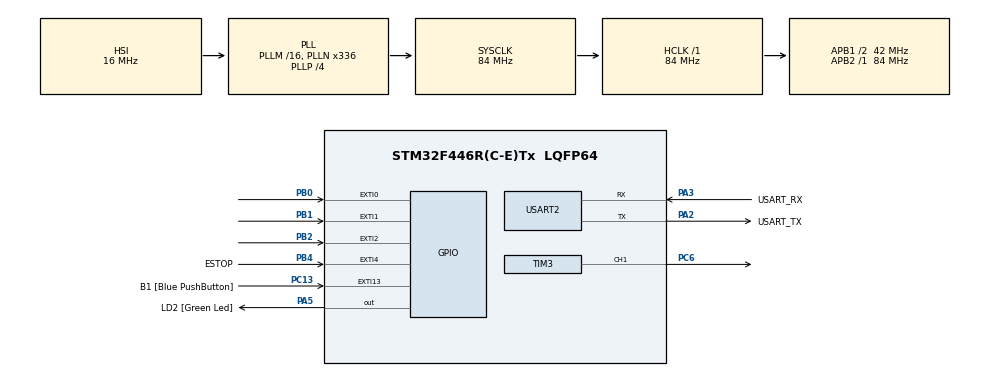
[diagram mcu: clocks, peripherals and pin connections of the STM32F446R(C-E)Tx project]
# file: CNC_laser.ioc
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IWDG.Prescaler=IWDG_PRESCALER_64
Mcu.Family=STM32F4
Mcu.Name=STM32F446R(C-E)Tx
Mcu.Package=LQFP64
NVIC.EXTI0_IRQn=true\:0\:0\:false\:false\:true\:true\:true\:true
NVIC.EXTI1_IRQn=true\:0\:0\:false\:false\:true\:true\:true\:true
NVIC.EXTI2_IRQn=true\:0\:0\:false\:false\:true\:true\:true\:true
NVIC.EXTI4_IRQn=true\:0\:0\:false\:false\:true\:true\:true\:true
NVIC.PriorityGroup=NVIC_PRIORITYGROUP_0
NVIC.TIM2_IRQn=true\:0\:0\:false\:false\:true\:true\:true\:true
NVIC.TIM4_IRQn=true\:0\:0\:false\:false\:true\:true\:true\:true
NVIC.USART2_IRQn=true\:0\:0\:false\:false\:true\:true\:true\:true
PA13.GPIO_Label=TMS
PA13.Mode=Serial_Wire
PA13.Signal=SYS_JTMS-SWDIO
PA14.GPIO_Label=TCK
PA14.Mode=Serial_Wire
PA14.Signal=SYS_JTCK-SWCLK
PA2.GPIO_Label=USART_TX
PA2.Mode=Asynchronous
PA2.Signal=USART2_TX
PA3.GPIO_Label=USART_RX
PA3.Mode=Asynchronous
PA3.Signal=USART2_RX
PA5.GPIO_Label=LD2 [Green Led]
PA5.Signal=GPIO_Output
PB0.GPIO_ModeDefaultEXTI=GPIO_MODE_IT_FALLING
PB0.GPIO_PuPd=GPIO_PULLDOWN
PB0.Signal=GPXTI0
PB1.GPIO_ModeDefaultEXTI=GPIO_MODE_IT_FALLING
PB1.GPIO_PuPd=GPIO_PULLDOWN
PB1.Signal=GPXTI1
PB2.GPIO_ModeDefaultEXTI=GPIO_MODE_IT_FALLING
PB2.GPIO_PuPd=GPIO_PULLDOWN
PB2.Signal=GPXTI2
PB3.GPIO_Label=SWO
PB3.Signal=SYS_JTDO-SWO
PB4.GPIO_Label=ESTOP
PB4.GPIO_PuPd=GPIO_PULLUP
PB4.Signal=GPXTI4
PC13.GPIO_Label=B1 [Blue PushButton]
PC13.GPIO_ModeDefaultEXTI=GPIO_MODE_IT_FALLING
PC13.Signal=GPXTI13
PC14-OSC32_IN.Mode=LSE-External-Oscillator
PC14-OSC32_IN.Signal=RCC_OSC32_IN
PC15-OSC32_OUT.Mode=LSE-External-Oscillator
PC15-OSC32_OUT.Signal=RCC_OSC32_OUT
PC6.Signal=S_TIM3_CH1
PH0-OSC_IN.Mode=HSE-External-Oscillator
PH0-OSC_IN.Signal=RCC_OSC_IN
PH1-OSC_OUT.Mode=HSE-External-Oscillator
PH1-OSC_OUT.Signal=RCC_OSC_OUT
ProjectManager.HeapSize=0x200
ProjectManager.StackSize=0x400
ProjectManager.TargetToolchain=STM32CubeIDE
RCC.48MHZClocksFreq_Value=84000000
RCC.AHBFreq_Value=84000000
RCC.APB1CLKDivider=RCC_HCLK_DIV2
RCC.APB1Freq_Value=42000000
RCC.APB1TimFreq_Value=84000000
RCC.APB2Freq_Value=84000000
RCC.APB2TimFreq_Value=84000000
RCC.CortexFreq_Value=84000000
RCC.FLatency-AdvancedSettings=FLASH_LATENCY_2
RCC.HCLKFreq_Value=84000000
RCC.HSE_VALUE=8000000
RCC.HSI_VALUE=16000000
RCC.PLLN=336
RCC.PLLP=RCC_PLLP_DIV4
RCC.SYSCLKFreq_VALUE=84000000
RCC.SYSCLKSource=RCC_SYSCLKSOURCE_PLLCLK
RCC.USBFreq_Value=168000000
RCC.VCOOutputFreq_Value=336000000
SH.S_TIM3_CH1.0=TIM3_CH1,PWM Generation1 CH1
TIM2.Prescaler=83
TIM3.Channel-PWM\ Generation1\ CH1=TIM_CHANNEL_1
TIM3.Period=999
TIM3.Prescaler=83
TIM4.Prescaler=83
USART2.VirtualMode=VM_ASYNC
VP_IWDG_VS_IWDG.Mode=IWDG_Activate
VP_TIM2_VS_ClockSourceINT.Mode=Internal
VP_TIM3_VS_ClockSourceINT.Mode=Internal
VP_TIM4_VS_ClockSourceINT.Mode=Internal
board=NUCLEO-F446RE

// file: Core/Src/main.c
/* USER CODE BEGIN Header */
/**
  ******************************************************************************
  * @file           : main.c
  * @brief          : Main program body
  ******************************************************************************
  * @attention
  *
  * Copyright (c) 2026 STMicroelectronics.
  * All rights reserved.
  *
  * This software is licensed under terms that can be found in the LICENSE file
  * in the root directory of this software component.
  * If no LICENSE file comes with this software, it is provided AS-IS.
  *
  ******************************************************************************
  */
/* USER CODE END Header */
#include "main.h"

/* USER CODE BEGIN Includes */
/* todos mis modulos propios. cada uno maneja una parte de la maquina
 * por separado (motores x/y, eje z, laser, enable de motores, homing,
 * parser de gcode), asi el main.c queda mas que nada como el que
 * conecta todo y maneja la comunicacion */
#include "corexy_config.h"
#include "homing.h"
#include "motor_enable.h"
#include "watchdog.h"
#include "z_axis.h"
#include "laser.h"
#include "gcode_parser.h"
#include "stepper.h"
#include <stdio.h>
#include <math.h>
#include <string.h>
/* USER CODE END Includes */

IWDG_HandleTypeDef hiwdg;

TIM_HandleTypeDef htim2;
TIM_HandleTypeDef htim3;
TIM_HandleTypeDef htim4;

UART_HandleTypeDef huart2;

/* USER CODE BEGIN PV */

/* ===== mensajes hacia laser grbl =====
 * laser grbl solo muestra lineas en formato grbl: "ALARM:n", "error:n" y
 * "[MSG:texto]". cualquier otro texto lo ignora (se ve en blanco).
 * regla: una linea de gcode recibe UNA sola respuesta, "ok" o "error:n".
 * por eso los avisos que no cortan el flujo van como [MSG:...] y despues
 * sale el "ok" normal, asi no se desincroniza el conteo de laser grbl.
 * todos los textos estan juntos aca para cambiarlos facil. */
#define MSG_WELCOME          "\r\nGrbl 1.1h ['$' for help]\r\n"
#define MSG_OK               "ok\r\n"
#define MSG_ALARM_LIMIT_FMT  "ALARM:1\r\n[MSG:Final de carrera %c]\r\n[MSG:Motores libres. $X y M17]\r\n"
#define MSG_WARN_FEED_FMT    "[MSG:F%d supera max. Uso F%d]\r\n"
#define MSG_ALARM_ESTOP      "ALARM:3\r\n[MSG:Parada de emergencia]\r\n[MSG:Motores libres. Rearme, $X y $H]\r\n"
#define MSG_ERR_ESTOP_HELD   "error:9\r\n[MSG:Emergencia apretada. Rearme]\r\n"
#define MSG_ALARM_WATCHDOG   "ALARM:3\r\n[MSG:Reinicio por watchdog]\r\n[MSG:Posicion perdida. $X y $H]\r\n"
#define MSG_ALARM_HOMING     "ALARM:9\r\n[MSG:Homing fallo]\r\n"
#define MSG_ERR_UNKNOWN      "error:20\r\n[MSG:Comando no reconocido]\r\n"
#define MSG_ERR_UNKNOWN_SYS  "error:3\r\n[MSG:Comando $ no reconocido]\r\n"
#define MSG_ERR_LOCKED       "error:9\r\n[MSG:En alarma. Mande $X]\r\n"
#define MSG_WARN_MOTORS_OFF  "[MSG:Motores off. Mande M17]\r\n"
#define MSG_WARN_OUT_XY      "[MSG:Fuera de area XY]\r\n"
#define MSG_WARN_OUT_Z       "[MSG:Fuera de area Z]\r\n"

/* bandera de alarma: se activa cuando un final de carrera se dispara
 * de improviso en medio de un movimiento normal (no durante el homing
 * a proposito). mientras esta activa, el firmware rechaza cualquier
 * comando nuevo hasta que se mande $X a mano. asi me aseguro de que si
 * la maquina choco contra algo, no siga como si nada mientras laser
 * grbl le sigue mandando lineas del trabajo */
static volatile bool alarm_active = false;

/* offset de trabajo (G92). posicion de trabajo = posicion de maquina -
 * offset. la posicion de maquina (la del homing, 0..240 / 0..200) nunca
 * se toca, asi siempre se conserva la referencia fisica y los limites
 * del area se controlan contra la maquina real */
static float g_off_x = 0.0f;
static float g_off_y = 0.0f;
/* esta otra bandera es para que el mensaje de alarma se mande una sola
 * vez (desde el main, nunca desde la interrupcion) aunque el switch
 * rebote mecanicamente y dispare la interrupcion varias veces por una
 * sola pulsada real */
static volatile bool alarm_message_pending = false;

/* ---- parada de emergencia (pulsador) ----
 * el pulsador va a PB4 (EXTI4). se cablea NORMALMENTE CERRADO entre PB4 y
 * GND, con el pull-up interno: en reposo el contacto lo mantiene en BAJO,
 * al apretar (o si se corta un cable) el contacto se abre y el pull-up lo
 * sube a ALTO. asi una falla del cableado tambien dispara la emergencia
 * (a prueba de fallas). si prefieren un NA a GND, cambiar
 * ESTOP_PRESSED_LEVEL a GPIO_PIN_RESET y el flanco a FALLING en el .ioc */
#ifndef ESTOP_Pin
#define ESTOP_Pin        GPIO_PIN_4
#define ESTOP_GPIO_Port  GPIOB
#endif
#define ESTOP_PRESSED_LEVEL  GPIO_PIN_SET
#define ESTOP_DEBOUNCE_US    1000U

/* la isr la carga y el main la lee para mandar el mensaje una sola vez */
static volatile bool estop_message_pending = false;
/* true desde que se aprieta hasta que se manda $X con el pulsador liberado */
static volatile bool estop_latched = false;

static inline bool estop_pressed(void)
{
    return HAL_GPIO_ReadPin(ESTOP_GPIO_Port, ESTOP_Pin) == ESTOP_PRESSED_LEVEL;
}
/* cual final de carrera disparo la alarma: 'X', 'Y' o 'Z' (lo carga la isr, lo imprime el main) */
static volatile char alarm_limit_axis = '?';

/* esto es el "look ahead" simplificado: en vez de ejecutar cada linea
 * de gcode apenas llega, guardo el movimiento pendiente y espero a ver
 * la linea siguiente antes de decidir si freno al final o no. si el
 * siguiente movimiento sigue exactamente la misma direccion (mismo
 * signo de avance en x e y), no hace falta frenar entre uno y otro -
 * eso es lo que evita que el laser se quede pegado quemando de mas en
 * cada microsegmento del raster */
typedef struct {
    bool valid;
    float target_x, target_y, feed;
    float dir_x, dir_y;
    bool is_rapid;        /* true = era un G0, apagar el láser al ejecutar */
    bool has_laser_s;     /* true = esta línea traía S */
    float laser_s;        /* el valor de S a aplicar justo al ejecutar */
} PendingMove;
static PendingMove g_pending = {0};
static uint32_t g_last_line_tick = 0;
/* si no llega una linea nueva en este tiempo, asumo que no hay
 * continuacion y ejecuto el movimiento pendiente frenando normal (por
 * ejemplo, si justo esa era la ultima linea del archivo) */
#define LOOKAHEAD_TIMEOUT_MS 80

/* banderas para mandar mensajes desde el main en vez de desde las
 * interrupciones. esto es clave: si se manda un HAL_UART_Transmit()
 * directo desde una isr, puede chocar con una transmision que ya este
 * en curso desde el main, y el uart queda trabado para siempre. por
 * eso la isr SOLO prende una bandera, y el unico que transmite de
 * verdad es el main() */
static volatile uint8_t welcome_pending = 0;
static volatile uint8_t status_report_pending = 0;

/* buffer circular para los bytes que van llegando por uart. hace falta
 * porque mientras un movimiento esta en curso (stepper_move_to es
 * bloqueante) el main no puede ir leyendo el uart activamente, pero la
 * interrupcion de recepcion si sigue funcionando y puede ir guardando
 * los bytes nuevos aca hasta que el main este libre para procesarlos */
#define RX_RING_SIZE 256
static volatile uint8_t  rx_ring[RX_RING_SIZE];
static volatile uint16_t rx_ring_head = 0;
static volatile uint16_t rx_ring_tail = 0;

#define GCODE_LINE_BUF_SIZE 96
static uint8_t g_absolute_mode = 1; /* 1 = G90 (absoluto, por defecto en Grbl), 0 = G91 (relativo) */
static GcodeCommandType g_last_motion = GCODE_G1;
static float g_last_feed_mm_min = 0.0f; /* el f es modal: si una linea no lo trae, se sigue usando el ultimo que llego */
static uint8_t  rx_byte;
static char     line_buf[GCODE_LINE_BUF_SIZE];
static uint16_t line_idx = 0;
static volatile uint8_t line_ready = 0; /* esta ya no se usa para nada (quedo de una version vieja), pero no molesta */
/* USER CODE END PV */

void SystemClock_Config(void);
static void MX_GPIO_Init(void);
static void MX_USART2_UART_Init(void);
static void MX_TIM2_Init(void);
static void MX_TIM3_Init(void);
static void MX_TIM4_Init(void);
static void MX_IWDG_Init(void);
/* USER CODE BEGIN PFP */
static void flush_pending_move(bool exit_at_cruise);
static void send_status_report(UART_HandleTypeDef *huart);
static void process_gcode_line(char *raw_line);
static void service_realtime(void);
static void uart_tx(UART_HandleTypeDef *h, uint8_t *p, uint16_t n, uint32_t to);
/* USER CODE END PFP */

int main(void)
{

  /* MCU Configuration--------------------------------------------------------*/

  /* Reset of all peripherals, Initializes the Flash interface and the Systick. */
  HAL_Init();

  /* USER CODE BEGIN Init */
  /* con el debugger frenado en un breakpoint, congelo el watchdog para que no reinicie la placa */
  __HAL_DBGMCU_FREEZE_IWDG();

  /* USER CODE END Init */

  /* Configure the system clock */
  SystemClock_Config();

  /* Initialize all configured peripherals */
  MX_GPIO_Init();
  MX_USART2_UART_Init();
  MX_TIM2_Init();
  MX_TIM3_Init();
  MX_TIM4_Init();
  MX_IWDG_Init();
  /* USER CODE BEGIN 2 */

  /* inicializo todos mis modulos. el orden ac no importa mucho entre
   * ellos, lo que si importa es que esto pase despues de que el cubemx
   * ya configuro los gpio y los timers arriba */
  homing_init();
  motor_enable_init();
  z_axis_init(&htim4);
  stepper_init(&htim2);
  laser_init(&htim3, TIM_CHANNEL_1);
  HAL_UART_Receive_IT(&huart2, &rx_byte, 1); /* arranco la recepcion por interrupcion, un byte a la vez */

  /* mando el mensaje de bienvenida tipo grbl apenas arranca, para el
   * caso de que algun programa ya este escuchando el puerto desde antes
   * de que yo conecte el cable */
  /* watchdog: lo configura y arranca cubemx (MX_IWDG_Init). aca solo miro
   * si el reinicio anterior fue por watchdog. si el firmware se cuelga mas
   * de ~2 s sin llamar a watchdog_refresh(), la placa se reinicia sola */
  bool reset_por_watchdog = watchdog_caused_last_reset();

  const char *welcome = MSG_WELCOME;
  uart_tx(&huart2, (uint8_t*)welcome, strlen(welcome), 100);
  if (reset_por_watchdog) {
      /* se perdio la posicion: dejo la maquina bloqueada hasta $X y $H */
      alarm_active = true;
      uart_tx(&huart2, (uint8_t*)MSG_ALARM_WATCHDOG, strlen(MSG_ALARM_WATCHDOG), 100);
  }
  if (estop_pressed()) {
      /* si prenden la placa con la emergencia apretada, arranca en alarma */
      estop_latched = true;
      alarm_active = true;
      motors_disable();
      uart_tx(&huart2, (uint8_t*)MSG_ALARM_ESTOP, strlen(MSG_ALARM_ESTOP), 100);
  }
  stepper_init(&htim2); /* esto quedo duplicado de una version anterior, no hace falta pero tampoco molesta */
  HAL_UART_Receive_IT(&huart2, &rx_byte, 1);

  /* le digo al stepper que, mientras espera a que termine un movimiento
   * largo, llame a service_realtime(). asi se siguen contestando el '?'
   * y los avisos y laser grbl no cree que la placa se colgo. va despues
   * de los stepper_init por si alguno de ellos reinicia el estado */
  stepper_set_wait_callback(service_realtime);
  /* USER CODE END 2 */

  /* Infinite loop */
  /* USER CODE BEGIN WHILE */
  while (1)
  {
	  /* atiendo los mensajes pendientes (alarma, bienvenida, estado)
	   * ANTES que nada mas, asi salen apenas se puede */
	  service_realtime();

      /* si quedo un movimiento pendiente esperando a ver si la proxima
       * linea continua en la misma direccion, y paso demasiado tiempo
       * sin que llegue nada nuevo, lo ejecuto igual frenando normal.
       * esto es importante para que no se quede "trabado" esperando
       * para siempre el ultimo segmento de un trabajo */
      if (g_pending.valid && (HAL_GetTick() - g_last_line_tick > LOOKAHEAD_TIMEOUT_MS)) {
          flush_pending_move(false); /* frena normal, no llegó continuación */
      }

      /* vacio el buffer circular armando lineas completas de texto.
       * cuando encuentro un \n o \r, ahi se termino una linea y la
       * mando a procesar */
      while (rx_ring_tail != rx_ring_head) {
          uint8_t b = rx_ring[rx_ring_tail];
          rx_ring_tail = (rx_ring_tail + 1) % RX_RING_SIZE;

          if (b == '\n' || b == '\r') {
              if (line_idx > 0) {
                  line_buf[line_idx] = '\0';
                  process_gcode_line(line_buf);
                  line_idx = 0;
                  service_realtime();
              }
          } else if (line_idx < GCODE_LINE_BUF_SIZE - 1) {
              line_buf[line_idx++] = (char)b;
          }
      }
    /* USER CODE END WHILE */

    }
}

void SystemClock_Config(void)
{
  /* esto es todo generado por el cubemx, no lo toque. configura el
   * clock del sistema a 84mhz usando el pll a partir del oscilador
   * interno (hsi) */
  RCC_OscInitTypeDef RCC_OscInitStruct = {0};
  RCC_ClkInitTypeDef RCC_ClkInitStruct = {0};

  /** Configure the main internal regulator output voltage
  */
  __HAL_RCC_PWR_CLK_ENABLE();
  __HAL_PWR_VOLTAGESCALING_CONFIG(PWR_REGULATOR_VOLTAGE_SCALE3);

  /** Initializes the RCC Oscillators according to the specified parameters
  * in the RCC_OscInitTypeDef structure.
  */
  RCC_OscInitStruct.OscillatorType = RCC_OSCILLATORTYPE_HSI;
  RCC_OscInitStruct.HSIState = RCC_HSI_ON;
  RCC_OscInitStruct.HSICalibrationValue = RCC_HSICALIBRATION_DEFAULT;
  RCC_OscInitStruct.PLL.PLLState = RCC_PLL_ON;
  RCC_OscInitStruct.PLL.PLLSource = RCC_PLLSOURCE_HSI;
  RCC_OscInitStruct.PLL.PLLM = 16;
  RCC_OscInitStruct.PLL.PLLN = 336;
  RCC_OscInitStruct.PLL.PLLP = RCC_PLLP_DIV4;
  RCC_OscInitStruct.PLL.PLLQ = 2;
  RCC_OscInitStruct.PLL.PLLR = 2;
  if (HAL_RCC_OscConfig(&RCC_OscInitStruct) != HAL_OK)
  {
    Error_Handler();
  }

  /** Initializes the CPU, AHB and APB buses clocks
  */
  RCC_ClkInitStruct.ClockType = RCC_CLOCKTYPE_HCLK|RCC_CLOCKTYPE_SYSCLK
                              |RCC_CLOCKTYPE_PCLK1|RCC_CLOCKTYPE_PCLK2;
  RCC_ClkInitStruct.SYSCLKSource = RCC_SYSCLKSOURCE_PLLCLK;
  RCC_ClkInitStruct.AHBCLKDivider = RCC_SYSCLK_DIV1;
  RCC_ClkInitStruct.APB1CLKDivider = RCC_HCLK_DIV2;
  RCC_ClkInitStruct.APB2CLKDivider = RCC_HCLK_DIV1;

  if (HAL_RCC_ClockConfig(&RCC_ClkInitStruct, FLASH_LATENCY_2) != HAL_OK)
  {
    Error_Handler();
  }
}

static void MX_TIM2_Init(void)
{
  /* tim2 es el timer que uso para generar los pasos de x/y (stepper.c).
   * el prescaler=83 sobre un clock de apb1 de 84mhz da un tick de
   * exactamente 1us, que es la unidad que uso en todo el codigo de
   * movimiento para calcular los periodos entre pasos */

  TIM_ClockConfigTypeDef sClockSourceConfig = {0};
  TIM_MasterConfigTypeDef sMasterConfig = {0};

  htim2.Instance = TIM2;
  htim2.Init.Prescaler = 83;
  htim2.Init.CounterMode = TIM_COUNTERMODE_UP;
  htim2.Init.Period = 4294967295;
  htim2.Init.ClockDivision = TIM_CLOCKDIVISION_DIV1;
  htim2.Init.AutoReloadPreload = TIM_AUTORELOAD_PRELOAD_DISABLE;
  if (HAL_TIM_Base_Init(&htim2) != HAL_OK)
  {
    Error_Handler();
  }
  sClockSourceConfig.ClockSource = TIM_CLOCKSOURCE_INTERNAL;
  if (HAL_TIM_ConfigClockSource(&htim2, &sClockSourceConfig) != HAL_OK)
  {
    Error_Handler();
  }
  sMasterConfig.MasterOutputTrigger = TIM_TRGO_RESET;
  sMasterConfig.MasterSlaveMode = TIM_MASTERSLAVEMODE_DISABLE;
  if (HAL_TIMEx_MasterConfigSynchronization(&htim2, &sMasterConfig) != HAL_OK)
  {
    Error_Handler();
  }

}

static void MX_TIM3_Init(void)
{
  /* tim3 genera el pwm del laser (canal 1, pin pc6). period=999 define
   * la frecuencia del pwm (con prescaler=83 sobre 84mhz, cada tick es
   * 1us, entonces 999+1 ticks de periodo = 1khz de pwm, que esta
   * dentro de lo que acepta el modulo laser). el duty cycle (0 a 999)
   * es lo que controla laser.c segun la potencia s que venga del gcode */

  TIM_ClockConfigTypeDef sClockSourceConfig = {0};
  TIM_MasterConfigTypeDef sMasterConfig = {0};
  TIM_OC_InitTypeDef sConfigOC = {0};

  htim3.Instance = TIM3;
  htim3.Init.Prescaler = 83;
  htim3.Init.CounterMode = TIM_COUNTERMODE_UP;
  htim3.Init.Period = 999;
  htim3.Init.ClockDivision = TIM_CLOCKDIVISION_DIV1;
  htim3.Init.AutoReloadPreload = TIM_AUTORELOAD_PRELOAD_DISABLE;
  if (HAL_TIM_Base_Init(&htim3) != HAL_OK)
  {
    Error_Handler();
  }
  sClockSourceConfig.ClockSource = TIM_CLOCKSOURCE_INTERNAL;
  if (HAL_TIM_ConfigClockSource(&htim3, &sClockSourceConfig) != HAL_OK)
  {
    Error_Handler();
  }
  if (HAL_TIM_PWM_Init(&htim3) != HAL_OK)
  {
    Error_Handler();
  }
  sMasterConfig.MasterOutputTrigger = TIM_TRGO_RESET;
  sMasterConfig.MasterSlaveMode = TIM_MASTERSLAVEMODE_DISABLE;
  if (HAL_TIMEx_MasterConfigSynchronization(&htim3, &sMasterConfig) != HAL_OK)
  {
    Error_Handler();
  }
  sConfigOC.OCMode = TIM_OCMODE_PWM1;
  sConfigOC.Pulse = 0;
  sConfigOC.OCPolarity = TIM_OCPOLARITY_HIGH;
  sConfigOC.OCFastMode = TIM_OCFAST_DISABLE;
  if (HAL_TIM_PWM_ConfigChannel(&htim3, &sConfigOC, TIM_CHANNEL_1) != HAL_OK)
  {
    Error_Handler();
  }
  HAL_TIM_MspPostInit(&htim3);

}

static void MX_IWDG_Init(void)
{

  hiwdg.Instance = IWDG;
  hiwdg.Init.Prescaler = IWDG_PRESCALER_64;
  hiwdg.Init.Reload = 1000;
  if (HAL_IWDG_Init(&hiwdg) != HAL_OK)
  {
    Error_Handler();
  }

}

static void MX_TIM4_Init(void)
{
  /* tim4 es el timer de pasos del eje z (mismo criterio que tim2 pero
   * para z_axis.c) */

  TIM_ClockConfigTypeDef sClockSourceConfig = {0};
  TIM_MasterConfigTypeDef sMasterConfig = {0};

  htim4.Instance = TIM4;
  htim4.Init.Prescaler = 83;
  htim4.Init.CounterMode = TIM_COUNTERMODE_UP;
  htim4.Init.Period = 65535;
  htim4.Init.ClockDivision = TIM_CLOCKDIVISION_DIV1;
  htim4.Init.AutoReloadPreload = TIM_AUTORELOAD_PRELOAD_DISABLE;
  if (HAL_TIM_Base_Init(&htim4) != HAL_OK)
  {
    Error_Handler();
  }
  sClockSourceConfig.ClockSource = TIM_CLOCKSOURCE_INTERNAL;
  if (HAL_TIM_ConfigClockSource(&htim4, &sClockSourceConfig) != HAL_OK)
  {
    Error_Handler();
  }
  sMasterConfig.MasterOutputTrigger = TIM_TRGO_RESET;
  sMasterConfig.MasterSlaveMode = TIM_MASTERSLAVEMODE_DISABLE;
  if (HAL_TIMEx_MasterConfigSynchronization(&htim4, &sMasterConfig) != HAL_OK)
  {
    Error_Handler();
  }

}

static void MX_USART2_UART_Init(void)
{
  /* usart2 (pa2/pa3) es el puerto que usa la nucleo para salir por el
   * mismo cable usb del st-link como puerto com virtual. por eso no
   * hace falta ningun adaptador externo para hablar con la pc */

  huart2.Instance = USART2;
  huart2.Init.BaudRate = 115200;
  huart2.Init.WordLength = UART_WORDLENGTH_8B;
  huart2.Init.StopBits = UART_STOPBITS_1;
  huart2.Init.Parity = UART_PARITY_NONE;
  huart2.Init.Mode = UART_MODE_TX_RX;
  huart2.Init.HwFlowCtl = UART_HWCONTROL_NONE;
  huart2.Init.OverSampling = UART_OVERSAMPLING_16;
  if (HAL_UART_Init(&huart2) != HAL_OK)
  {
    Error_Handler();
  }

}

static void MX_GPIO_Init(void)
{
  GPIO_InitTypeDef GPIO_InitStruct = {0};

  /* GPIO Ports Clock Enable */
  __HAL_RCC_GPIOC_CLK_ENABLE();
  __HAL_RCC_GPIOH_CLK_ENABLE();
  __HAL_RCC_GPIOA_CLK_ENABLE();
  __HAL_RCC_GPIOB_CLK_ENABLE();

  /*Configure GPIO pin Output Level */
  HAL_GPIO_WritePin(LD2_GPIO_Port, LD2_Pin, GPIO_PIN_RESET);

  /*Configure GPIO pin : B1_Pin */
  GPIO_InitStruct.Pin = B1_Pin;
  GPIO_InitStruct.Mode = GPIO_MODE_IT_FALLING;
  GPIO_InitStruct.Pull = GPIO_NOPULL;
  HAL_GPIO_Init(B1_GPIO_Port, &GPIO_InitStruct);

  /*Configure GPIO pin : LD2_Pin */
  GPIO_InitStruct.Pin = LD2_Pin;
  GPIO_InitStruct.Mode = GPIO_MODE_OUTPUT_PP;
  GPIO_InitStruct.Pull = GPIO_NOPULL;
  GPIO_InitStruct.Speed = GPIO_SPEED_FREQ_LOW;
  HAL_GPIO_Init(LD2_GPIO_Port, &GPIO_InitStruct);

  /*Configure GPIO pins : PB0 PB1 PB2 */
  /* estos 3 son los finales de carrera de x, y, z. los configure como
   * interrupcion externa con flanco descendente (no como entrada
   * comun) para que cualquier toque de un switch en medio de un
   * movimiento normal dispare al toque la parada de emergencia, sin
   * depender de que el codigo este en ese momento revisando el pin */
  GPIO_InitStruct.Pin = GPIO_PIN_0|GPIO_PIN_1|GPIO_PIN_2;
  GPIO_InitStruct.Mode = GPIO_MODE_IT_FALLING;
  GPIO_InitStruct.Pull = GPIO_PULLDOWN;
  HAL_GPIO_Init(GPIOB, &GPIO_InitStruct);

  /*Configure GPIO pin : ESTOP_Pin (PB4) - parada de emergencia, flanco ascendente, pull-up */
  GPIO_InitStruct.Pin = ESTOP_Pin;
  GPIO_InitStruct.Mode = GPIO_MODE_IT_RISING;
  GPIO_InitStruct.Pull = GPIO_PULLUP;
  HAL_GPIO_Init(ESTOP_GPIO_Port, &GPIO_InitStruct);

  /* EXTI interrupt init*/
  HAL_NVIC_SetPriority(EXTI4_IRQn, 0, 0);
  HAL_NVIC_EnableIRQ(EXTI4_IRQn);

  HAL_NVIC_SetPriority(EXTI0_IRQn, 0, 0);
  HAL_NVIC_EnableIRQ(EXTI0_IRQn);

  HAL_NVIC_SetPriority(EXTI1_IRQn, 0, 0);
  HAL_NVIC_EnableIRQ(EXTI1_IRQn);

  HAL_NVIC_SetPriority(EXTI2_IRQn, 0, 0);
  HAL_NVIC_EnableIRQ(EXTI2_IRQn);

  /* USER CODE BEGIN MX_GPIO_Init_2 */
  /* ac configuro a mano los pines de step/dir de los motores a y b
   * (x/y) y del eje z, todos en el puerto c. los dejo como salida
   * push-pull normal, nada de especial, porque los manejo directo con
   * HAL_GPIO_WritePin desde stepper.c/z_axis.c, no uso ningun
   * periferico de hardware para esto (son gpio comunes, el timing lo
   * hace software con el timer de pasos) */
  GPIO_InitTypeDef motor_gpio = {0};
  __HAL_RCC_GPIOC_CLK_ENABLE(); /* ya está habilitado más arriba, pero no molesta repetirlo */

  motor_gpio.Pin = GPIO_PIN_0 | GPIO_PIN_1 | GPIO_PIN_2 | GPIO_PIN_3 | GPIO_PIN_4 | GPIO_PIN_5;
  motor_gpio.Mode = GPIO_MODE_OUTPUT_PP;
  motor_gpio.Pull = GPIO_NOPULL;
  motor_gpio.Speed = GPIO_SPEED_FREQ_HIGH;
  HAL_GPIO_Init(GPIOC, &motor_gpio);
  /* USER CODE END MX_GPIO_Init_2 */
}

/* USER CODE BEGIN 4 */

/* convierte un float a texto con 3 decimales fijos, sin usar printf con
 * %f (que en este toolchain embebido no siempre anda bien con floats
 * sin configuracion extra, asi que lo hago a mano con enteros) */
static void format_float3(float value, char *out, size_t out_size)
{
    int sign = (value < 0.0f) ? -1 : 1;
    float absval = value * sign;
    int32_t scaled = (int32_t)lroundf(absval * 1000.0f);
    int32_t whole = scaled / 1000;
    int32_t frac  = scaled % 1000;
    snprintf(out, out_size, "%s%ld.%03ld", (sign < 0) ? "-" : "", (long)whole, (long)frac);
}

/* arma y manda el reporte de estado que laser grbl pide con el
 * caracter '?'. el formato "<Idle|MPos:x,y,z|FS:f,s>" es el que usa
 * grbl de verdad, lo imito para que laser grbl lo entienda y pueda
 * mostrar la posicion actual en su interfaz. por ahora mando z fijo en
 * 0.000 porque no lo estoy reportando todavia (se podria agregar
 * despues si hace falta) */
static void send_status_report(UART_HandleTypeDef *huart)
{
    /* si todavia hay un tx en curso, lo dejo para la proxima vuelta. esto va
     * ANTES de armar el texto: msg es static y el tx anterior lo sigue
     * leyendo, si lo pisara saldria el reporte mezclado */
    if (huart->gState != HAL_UART_STATE_READY) { status_report_pending = 1; return; }

    float x, y;
    stepper_get_position(&x, &y);
    char xs[16], ys[16], wxs[16], wys[16];
    static char msg[100]; /* static: el tx por interrupcion sigue usando el buffer despues de salir */
    format_float3(x, xs, sizeof(xs));
    format_float3(y, ys, sizeof(ys));
    format_float3(g_off_x, wxs, sizeof(wxs));
    format_float3(g_off_y, wys, sizeof(wys));
    int len = snprintf(msg, sizeof(msg), "<%s|MPos:%s,%s,0.000|FS:0,0|WCO:%s,%s,0.000>\r\n", alarm_active ? "Alarm" : "Idle", xs, ys, wxs, wys);
    /* por interrupcion: no frena al micro 3.5 ms (eso causaba tirones) */
    HAL_UART_Transmit_IT(huart, (uint8_t*)msg, len);
}

/* tx bloqueante normal, pero antes espera a que termine el tx por
 * interrupcion del status, si no HAL devuelve BUSY y se pierde el ok */
static void uart_tx(UART_HandleTypeDef *h, uint8_t *p, uint16_t n, uint32_t to)
{
    uint32_t t0 = HAL_GetTick();
    while (h->gState != HAL_UART_STATE_READY && (HAL_GetTick() - t0) < 20) { }
    HAL_UART_Transmit(h, p, n, to);
}

/* atiende todo lo que las interrupciones dejaron pendiente (alarma,
 * bienvenida, estado). se llama desde el while principal y TAMBIEN
 * desde stepper_move_to mientras espera que termine un movimiento
 * largo. eso es lo que evita que laser grbl crea que la placa se colgo
 * ("StopResponding"): antes, durante un movimiento de varios segundos
 * no salia ningun mensaje, ahora el '?' se sigue contestando.
 *
 * es seguro transmitir ac porque siempre se llama desde el contexto del
 * main (nunca desde una isr), y los pasos los sigue dando la
 * interrupcion del timer sin que esta transmision los demore */
static void service_realtime(void)
{
    watchdog_refresh(); /* se llama desde el while principal y desde la espera de cada movimiento */
    if (alarm_message_pending) {
        alarm_message_pending = false;
        char alarm[160];
        int n = snprintf(alarm, sizeof(alarm),
            MSG_ALARM_LIMIT_FMT,
            alarm_limit_axis);
        uart_tx(&huart2, (uint8_t*)alarm, n, 100);
    }
    if (estop_message_pending) {
        estop_message_pending = false;
        uart_tx(&huart2, (uint8_t*)MSG_ALARM_ESTOP, strlen(MSG_ALARM_ESTOP), 100);
    }
    if (welcome_pending) {
        welcome_pending = 0;
        g_off_x = 0.0f; /* un reset (ctrl-x) borra el offset de trabajo */
        g_off_y = 0.0f;
        const char *welcome = MSG_WELCOME;
        uart_tx(&huart2, (uint8_t*)welcome, strlen(welcome), 100);
    }
    if (status_report_pending) {
        status_report_pending = 0;
        send_status_report(&huart2);
    }
}

/* ejecuta el movimiento que quedo "pendiente" esperando a ver si el
 * siguiente seguia la misma direccion. exit_at_cruise le dice a
 * stepper_move_to si tiene que frenar al final o no (eso ya se decidio
 * afuera, comparando con la linea que acaba de llegar).
 *
 * uso una variable static (last_entered_at_cruise) para acordarme como
 * salio el movimiento ANTERIOR, porque eso define como entra este: si
 * el anterior no freno (salio a velocidad de crucero), este tiene que
 * entrar directo a crucero tambien, sin perder tiempo acelerando de
 * nuevo de cero */
static void flush_pending_move(bool exit_at_cruise)
{
    if (!g_pending.valid) return;
    static bool last_entered_at_cruise = false;

    /* si hay alarma (final de carrera), no ejecuto nada. sin esto, una linea
     * que quedaba cargada como pendiente justo cuando saltaba la alarma se
     * ejecutaba 80 ms despues (por el timeout del while principal) y
     * motors_enable() volvia a enganchar los motores y los movia */
    if (alarm_active) {
        g_pending.valid = false;
        last_entered_at_cruise = false;
        return;
    }

    /* el estado del laser para este movimiento se fija ACA, justo antes
     * de ejecutarlo, y no cuando llego la linea. rapid = es un g0 (la
     * salida va a 0). has_laser_s = la linea traia un s nuevo (el s es
     * modal: si no viene, se sigue usando el ultimo) */
    laser_begin_segment(g_pending.is_rapid, g_pending.has_laser_s, g_pending.laser_s);

    motors_enable();
    stepper_move_to(g_pending.target_x, g_pending.target_y, g_pending.feed,
                     last_entered_at_cruise, exit_at_cruise);
    /* si la alarma corto este movimiento, el proximo (despues de $X) tiene que
     * arrancar con rampa, no directo a velocidad de crucero */
    last_entered_at_cruise = alarm_active ? false : exit_at_cruise;
    g_pending.valid = false;
}

/* esta es la funcion mas importante de todo el firmware: recibe una
 * linea de texto ya armada (sin \r\n) y decide que hacer con ella. se
 * llama una vez por cada linea de gcode que llega completa desde el
 * buffer circular */
static void process_gcode_line(char *raw_line)
{
    char *gcode_str = raw_line;
    uint8_t is_jog = 0;

    /* $X es el comando de grbl para desbloquear la alarma. lo chequeo
     * primero que nada, antes incluso de ver si hay una alarma activa,
     * porque si no nunca se podria salir de la alarma */
    if (raw_line[0] == '$' && raw_line[1] == 'X' && raw_line[2] == '\0') {
        /* con la emergencia todavia apretada no se puede desbloquear */
        if (estop_pressed()) {
            uart_tx(&huart2, (uint8_t*)MSG_ERR_ESTOP_HELD, strlen(MSG_ERR_ESTOP_HELD), 100);
            return;
        }
        estop_latched = false;
        alarm_active = false;
        uart_tx(&huart2, (uint8_t*)MSG_OK, 4, 100);
        return;
    }

    /* si esta en alarma (por un final de carrera que se activo de
     * improviso), rechazo cualquier otra cosa que llegue hasta que
     * manden $X. ni siquiera llego a parsear la linea */
    if (alarm_active) {
        const char *err = MSG_ERR_LOCKED;
        uart_tx(&huart2, (uint8_t*)err, strlen(err), 100);
        return;
    }

    /* comandos que arrancan con $ son comandos especiales de grbl, no
     * gcode normal */
    if (raw_line[0] == '$') {
        if (raw_line[1] == 'J' && raw_line[2] == '=') {
            /* $J=... es un comando de jog (los botones de flecha de
             * laser grbl mandan esto). le saco el prefijo y lo trato
             * como una linea de gcode normal de ahi en mas */
            gcode_str = &raw_line[3];
            is_jog = 1;
        } else if (raw_line[1] == 'H' && raw_line[2] == '\0') {
            /* $H es homing */
            bool ok = homing_run();
            if (ok) {
                /* homing_run ya deja todo en 0 internamente, pero lo
                 * vuelvo a fijar ac por las dudas, no cuesta nada */
                stepper_set_position(0.0f, 0.0f);
                z_axis_set_position(0.0f);
                g_off_x = 0.0f; /* despues de homing el cero anterior ya no vale */
                g_off_y = 0.0f;
                uart_tx(&huart2, (uint8_t*)MSG_OK, 4, 100);
            } else if (alarm_active) {
                /* el homing lo corto una emergencia: ya se avisa aparte, no es un "homing fallo" */
            } else {
                const char *err = MSG_ALARM_HOMING;
                uart_tx(&huart2, (uint8_t*)err, strlen(err), 100);
            }
            return;
        } else if (raw_line[1] == '$' && raw_line[2] == '\0') {
            /* $$ es "mostrame la configuracion". contesto lo minimo para
             * que laser grbl sepa que hay modo laser ($32=1), y asi
             * ofrezca M4 (potencia dinamica). $30 es la potencia maxima
             * (la misma LASER_S_MAX que uso en laser.c) y $31 la minima */
            char cfg[48];
            int n = snprintf(cfg, sizeof(cfg), "$30=%d\r\n$31=0\r\n$32=1\r\n", (int)LASER_S_MAX);
            uart_tx(&huart2, (uint8_t*)cfg, n, 100);
            uart_tx(&huart2, (uint8_t*)MSG_OK, 4, 100);
            return;
        } else {
            /* cualquier otro comando $ no esta implementado: aviso con
             * error (no es alarma, la maquina sigue andando normal) */
            uart_tx(&huart2, (uint8_t*)MSG_ERR_UNKNOWN_SYS, strlen(MSG_ERR_UNKNOWN_SYS), 100);
            return;
        }
    }

    GcodeCommand cmd = {0};
    if (gcode_parse_line(gcode_str, &cmd)) {

        /* comando no reconocido: aviso con error y ignoro la linea
         * entera. no es una alarma, la maquina no se bloquea ni se
         * apagan los motores, simplemente sigue con la linea que viene */
        if (cmd.has_unknown) {
            uart_tx(&huart2, (uint8_t*)MSG_ERR_UNKNOWN, strlen(MSG_ERR_UNKNOWN), 100);
            return;
        }

        /* tope de velocidad: si piden una F mayor al maximo, la descarto,
         * aviso con un [MSG] y la recorto al maximo. no es una
         * alarma: la linea se ejecuta igual y el trabajo sigue */
        if (cmd.has_f && cmd.f > MAX_FEED_MM_MIN) {
            char warn[64];
            int fdef = (int)MAX_FEED_MM_MIN;
            int n = snprintf(warn, sizeof(warn), MSG_WARN_FEED_FMT, (int)cmd.f, fdef);
            uart_tx(&huart2, (uint8_t*)warn, n, 100);
            cmd.f = MAX_FEED_MM_MIN;
        }

    	/* si esta linea NO es una continuacion de movimiento (viene un
    	 * g0, un cambio de z, apagar el laser, o desactivar motores),
    	 * primero tengo que ejecutar lo que haya quedado pendiente del
    	 * encadenado de segmentos. sino ese ultimo tramo se perderia o
    	 * se mezclaria mal con esta linea nueva */
    	if (cmd.has_z || cmd.has_m5 || cmd.has_m84) {
    	    flush_pending_move(false);
    	}

        /* g92 fija el origen de trabajo donde esta la maquina ahora (o
         * en el valor dado). primero termino cualquier movimiento
         * pendiente para conocer la posicion real. g92.1 borra el offset */
        if (cmd.has_g92 || cmd.has_g92_1) {
            flush_pending_move(false);
            float mx, my;
            stepper_get_position(&mx, &my);
            if (cmd.has_g92_1) {
                g_off_x = 0.0f;
                g_off_y = 0.0f;
            } else if (!cmd.has_x && !cmd.has_y) {
                g_off_x = mx;   /* g92 sin ejes: cero de trabajo aca */
                g_off_y = my;
            } else {
                if (cmd.has_x) g_off_x = mx - cmd.x;
                if (cmd.has_y) g_off_y = my - cmd.y;
            }
        }

        /* la F es modal: si viene en una linea sin movimiento (ej. "M3 S30 F1000")
         * hay que recordarla igual para los G1 que vienen despues */
        if (cmd.has_f) g_last_feed_mm_min = cmd.f;

        /* en un jog ($J=G91 X10 ...) el G90/G91 vale SOLO para esa linea y
         * no cambia el modo del programa, como en grbl. si lo cambiara,
         * despues de mover con las flechas el framing y los trabajos se
         * interpretarian como relativos */
        uint8_t abs_mode = g_absolute_mode;
        if (cmd.has_g90) abs_mode = 1;
        if (cmd.has_g91) abs_mode = 0;
        if (!is_jog) g_absolute_mode = abs_mode;
        if (cmd.has_m3 || cmd.has_m4) {
            laser_enable();
            /* m3 = potencia constante, m4 = potencia dinamica (la
             * potencia sigue a la velocidad, ver laser.c) */
            laser_set_dynamic(cmd.has_m4);
        }
        if (cmd.has_m84) {
            motors_disable();
        }
        if (cmd.has_m17) {
            motors_enable();
        }
        if (cmd.has_m5) {
            laser_disable();
        }
        /* s suelto (sin x/y): ejecuto antes el movimiento pendiente para respetar el orden */
        if (cmd.has_s && !cmd.has_x && !cmd.has_y) {
            flush_pending_move(false);
            laser_set_power(cmd.s);
        }
        uint8_t explicit_motion = (cmd.type == GCODE_G0 || cmd.type == GCODE_G1);
        if (explicit_motion) g_last_motion = cmd.type;

        /* en todo g0 apago el laser de una, sin importar si la linea
         * trae s o no. esto imita lo que hace un grbl real en modo
         * laser: nunca se quiere que el laser quede prendido durante
         * un traslado rapido, es una cuestion de seguridad. lo dejo
         * ACA (al llegar la linea) ademas de en el flush, para que el
         * laser no quede prendido y quieto en m3 mientras el g0 espera
         * en la cola */
        if (cmd.type == GCODE_G0 && !g_pending.valid) {
            laser_force_off_for_rapid();
        }

        /* should_move me dice si esta linea trae alguna coordenada de
         * x o y (gcode modal: puede venir sin g0/g1 explicito y aun
         * asi ser un movimiento valido, eso ya lo resuelve el parser) */
        uint8_t should_move = (cmd.has_x || cmd.has_y) && !cmd.has_g92;
        (void)g_last_motion; /* reservado para cuando distingamos velocidad G0 vs G1 */

        /* si hay que moverse pero los motores estan desactivados (m84),
         * aviso y no ejecuto nada. este chequeo quedo duplicado dos
         * veces seguidas de cuando lo fui armando, no hace falta pero
         * tampoco rompe nada dejarlo asi */
        if (should_move && !motors_are_enabled()) {
            const char *warn = MSG_WARN_MOTORS_OFF;
            uart_tx(&huart2, (uint8_t*)warn, strlen(warn), 100);
            should_move = 0; /* no ejecutamos el movimiento */
        }

        if (should_move) {
            float cur_x, cur_y;
            stepper_get_position(&cur_x, &cur_y);
            if (g_pending.valid) {
                /* si ya hay un movimiento pendiente en cola, calculo
                 * esta nueva linea a partir de DONDE VA A TERMINAR ese
                 * pendiente, no de donde esta la maquina ahora mismo
                 * (que todavia no se movio fisicamente) */
                cur_x = g_pending.target_x;
                cur_y = g_pending.target_y;
            }

            float target_x, target_y;
            if (abs_mode) {
                /* las coordenadas llegan en sistema de trabajo: sumo el
                 * offset para obtener la posicion real de maquina */
                target_x = cmd.has_x ? (cmd.x + g_off_x) : cur_x;
                target_y = cmd.has_y ? (cmd.y + g_off_y) : cur_y;
            } else {
                target_x = cur_x + (cmd.has_x ? cmd.x : 0.0f);
                target_y = cur_y + (cmd.has_y ? cmd.y : 0.0f);
            }

            /* limite de software del area de trabajo. esto solo tiene
             * sentido real despues de haber hecho $H, porque antes de
             * eso la posicion 0 es arbitraria y no corresponde a
             * ninguna esquina fisica de verdad */
            if (target_x < 0.0f || target_x > WORKSPACE_X_MAX_MM ||
                target_y < 0.0f || target_y > WORKSPACE_Y_MAX_MM) {
                const char *err = MSG_WARN_OUT_XY;
                uart_tx(&huart2, (uint8_t*)err, strlen(err), 100);
            } else {
                if (cmd.has_f) {
                    g_last_feed_mm_min = cmd.f;
                }
                float feed = g_last_feed_mm_min;

                /* calculo la direccion normalizada (un vector unitario)
                 * de este movimiento, para despues poder comparar con
                 * el siguiente y ver si siguen exactamente la misma
                 * direccion */
                float new_dx = target_x - cur_x;
                float new_dy = target_y - cur_y;
                float new_len = sqrtf(new_dx*new_dx + new_dy*new_dy);
                float new_dir_x = (new_len > 1e-4f) ? (new_dx / new_len) : 0.0f;
                float new_dir_y = (new_len > 1e-4f) ? (new_dy / new_len) : 0.0f;

                if (g_pending.valid) {
                    /* producto punto entre las dos direcciones: si da
                     * practicamente 1, significa que apuntan para el
                     * mismo lado exacto (colineales), asi que no hace
                     * falta frenar entre uno y otro */
                    float dot = g_pending.dir_x * new_dir_x + g_pending.dir_y * new_dir_y;
                    bool continues = (dot > 0.999f);
                    flush_pending_move(continues);
                }
                /* el g1 anterior ya termino de ejecutarse (flush es
                 * bloqueante), recien ahora apago el laser para el g0 */
                if (cmd.type == GCODE_G0) {
                    laser_force_off_for_rapid();
                }

                /* esta linea queda como la nueva pendiente, todavia no
                 * se ejecuta: se ejecuta recien cuando llegue la
                 * proxima (ahi se decide si frena o no) o si pasa
                 * mucho tiempo sin que llegue nada mas (ver el timeout
                 * en el while principal) */
                g_pending.valid = true;
                g_pending.target_x = target_x;
                g_pending.target_y = target_y;
                g_pending.feed = feed;
                g_pending.dir_x = new_dir_x;
                g_pending.dir_y = new_dir_y;
                g_pending.is_rapid = (cmd.type == GCODE_G0);
                g_pending.has_laser_s = cmd.has_s;
                g_pending.laser_s = cmd.s;
                g_last_line_tick = HAL_GetTick();
            }
        }

        /* el eje z se maneja aparte, no entra en el encadenado de
         * segmentos de x/y (normalmente se usa para ajustar el foco
         * antes de grabar, no en medio de un trazo) */
        if (cmd.has_z && !cmd.has_g92) {
            if (!motors_are_enabled()) {
                const char *warn = MSG_WARN_MOTORS_OFF;
                uart_tx(&huart2, (uint8_t*)warn, strlen(warn), 100);
            } else {
                float target_z;
                float cur_z;
                z_axis_get_position(&cur_z);
                if (abs_mode) {
                    target_z = cmd.z;
                } else {
                    target_z = cur_z + cmd.z;
                }
                float feed = cmd.has_f ? cmd.f : g_last_feed_mm_min;
                if (target_z < 0.0f || target_z > WORKSPACE_Z_MAX_MM) {
                    const char *err = MSG_WARN_OUT_Z;
                    uart_tx(&huart2, (uint8_t*)err, strlen(err), 100);
                } else {
                    z_axis_move_to(target_z, feed);
                }
            }
        }
    }
    /* respondo ok al final de cualquier linea que haya llegado hasta
     * aca (haya hecho algo o no), porque laser grbl necesita este ok
     * para saber que puede mandar la siguiente linea de la cola */
    uart_tx(&huart2, (uint8_t*)MSG_OK, 4, 100);
}

/* interrupcion de recepcion de uart: se dispara una vez por cada byte
 * que llega. ojo que esto corre en contexto de interrupcion, asi que
 * tiene que ser lo mas rapido y simple posible - por eso nunca
 * transmite nada directo, solo guarda bytes en el buffer circular o
 * prende banderas para que el main() se encargue despues */
void HAL_UART_RxCpltCallback(UART_HandleTypeDef *huart)
{
    if (huart->Instance == USART2)
    {
        if (rx_byte == '?') {
            /* '?' es un comando de "tiempo real" de grbl: no es parte
             * de una linea, pide el estado actual ya mismo. no lo meto
             * en el buffer de lineas, solo prendo la bandera */
            status_report_pending = 1;
        } else if (rx_byte == 0x18) {
            /* Ctrl-X: comando de soft-reset de Grbl. LaserGRBL lo manda
             * al conectar esperando ver de nuevo el mensaje de bienvenida. */
            welcome_pending = 1;
        } else {
            /* byte normal de gcode: lo guardo en el buffer circular.
             * si el buffer esta lleno (no deberia pasar nunca con 256
             * bytes de margen) simplemente se pierde ese byte en vez
             * de romper algo */
            uint16_t next_head = (rx_ring_head + 1) % RX_RING_SIZE;
            if (next_head != rx_ring_tail) {
                rx_ring[rx_ring_head] = rx_byte;
                rx_ring_head = next_head;
            }
        }
        HAL_UART_Receive_IT(huart, &rx_byte, 1); /* rearmo la recepcion para el proximo byte */
    }
}

/* interrupcion externa de los 3 finales de carrera. esto es lo que da
 * la parada de emergencia de verdad: si se activa un switch en medio
 * de un movimiento normal (no durante el homing a proposito), corta
 * todo al instante sin importar en que estaba ocupado el firmware en
 * ese momento */
/* confirma que el pin sigue en bajo durante window_us, usando el contador
 * de ciclos dwt (ya lo habilita homing_init, asi que tiene que estar corriendo) */
static bool limit_still_low(uint16_t pin, uint32_t window_us)
{
    uint32_t start = DWT->CYCCNT;
    uint32_t cycles = window_us * (SystemCoreClock / 1000000U);
    while ((DWT->CYCCNT - start) < cycles) {
        if (HAL_GPIO_ReadPin(GPIOB, pin) != GPIO_PIN_RESET) return false;
    }
    return true;
}

void HAL_GPIO_EXTI_Callback(uint16_t GPIO_Pin)
{
    /* parada de emergencia: va ANTES del chequeo de homing, porque tiene
     * que funcionar siempre, tambien en medio del homing */
    if (GPIO_Pin == ESTOP_Pin) {
        /* antirrebote: tiene que seguir apretado ESTOP_DEBOUNCE_US */
        uint32_t start = DWT->CYCCNT;
        uint32_t cycles = ESTOP_DEBOUNCE_US * (SystemCoreClock / 1000000U);
        while ((DWT->CYCCNT - start) < cycles) {
            if (!estop_pressed()) return; /* fue un pico, no una pulsacion real */
        }

        stepper_emergency_stop();
        z_axis_emergency_stop();
        homing_abort();
        laser_disable();
        g_pending.valid = false;
        motors_disable(); /* motores sin corriente */

        if (!estop_latched) {
            estop_latched = true;
            estop_message_pending = true; /* el mensaje lo manda el main */
        }
        alarm_active = true;
        return;
    }

    if (homing_is_active()) {
        return;
    }

    if (GPIO_Pin == X_LIMIT_PIN || GPIO_Pin == Y_LIMIT_PIN || GPIO_Pin == Z_LIMIT_PIN) {
        if (!limit_still_low(GPIO_Pin, 200)) {
            return; /* fue un pico, no un toque real */
        }

        stepper_emergency_stop();
        z_axis_emergency_stop();
        laser_disable();
        g_pending.valid = false;
        motors_disable(); /* final de carrera: motores sin corriente */

        if (!alarm_active) {
            alarm_limit_axis = (GPIO_Pin == X_LIMIT_PIN) ? 'X' : (GPIO_Pin == Y_LIMIT_PIN) ? 'Y' : 'Z';
            alarm_message_pending = true;
        }
        alarm_active = true;
    }
}
/* interrupcion del timer: se llama cada vez que vence el periodo
 * configurado, tanto para tim2 (pasos de x/y) como para tim4 (pasos de
 * z). cada uno delega a su propio modulo */
void HAL_TIM_PeriodElapsedCallback(TIM_HandleTypeDef *htim)
{
    if (htim->Instance == TIM2) {
        stepper_timer_isr();
    } else if (htim->Instance == TIM4) {
        z_axis_timer_isr();
    }
}
/* USER CODE END 4 */

void Error_Handler(void)
{
  __disable_irq();
  while (1)
  {
  }
}
